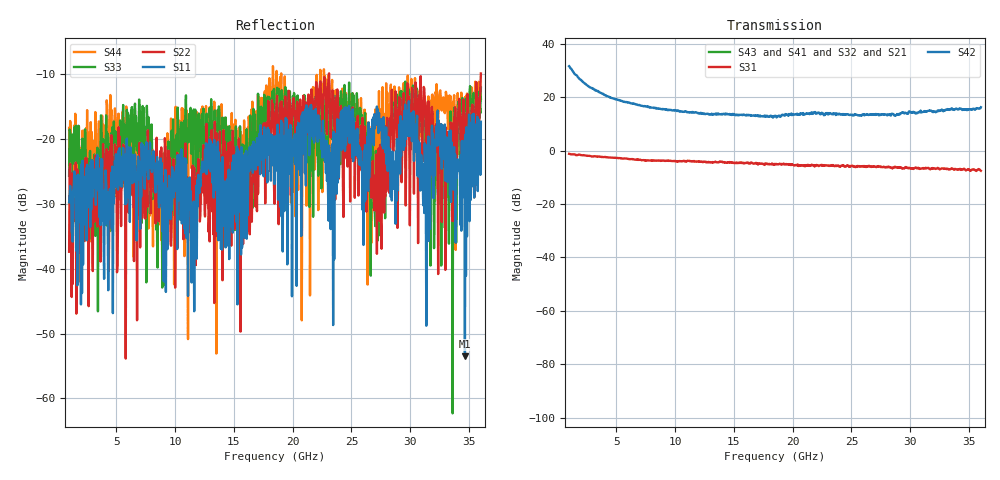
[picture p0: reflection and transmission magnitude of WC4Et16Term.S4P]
!  4-Port S-parameters saved by WinCal
# Hz S RI R 50
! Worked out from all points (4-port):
!   801 points, 1 GHz to 36 GHz, reference 50 ohm
!   strongest paths, dB at 1 GHz, 9.75 GHz, 18.5 GHz, 27.25 GHz, 36 GHz:
!     S42: 31.6, 15.1, 13.0, 13.7, 16.3
!     S31: -1.2, -3.9, -5.2, -6.0, -7.5
!     S43: -, -, -, -, -
!     S41: -, -, -, -, -
!     S32: -, -, -, -, -
!     S21: -, -, -, -, -
!   lowest |S11| = -53.5 dB at 34.64 GHz (marker M1), VSWR 1.00, Z = 50.2 - j0.0366 ohm
!   |S11| at or under -10 dB: start of sweep to end of sweep
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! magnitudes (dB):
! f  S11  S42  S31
! 1 GHz  -29.7  31.6  -1.2
! 11.59 GHz  -29.6  14.3  -4.0
! 12.99 GHz  -24.9  13.7  -4.3
! 22.92 GHz  -26.5  14.1  -5.5
! 27.07 GHz  -16.6  13.7  -6.1
! 34.64 GHz  -53.5  15.5  -7.1
! 36 GHz  -17.3  16.3  -7.5
